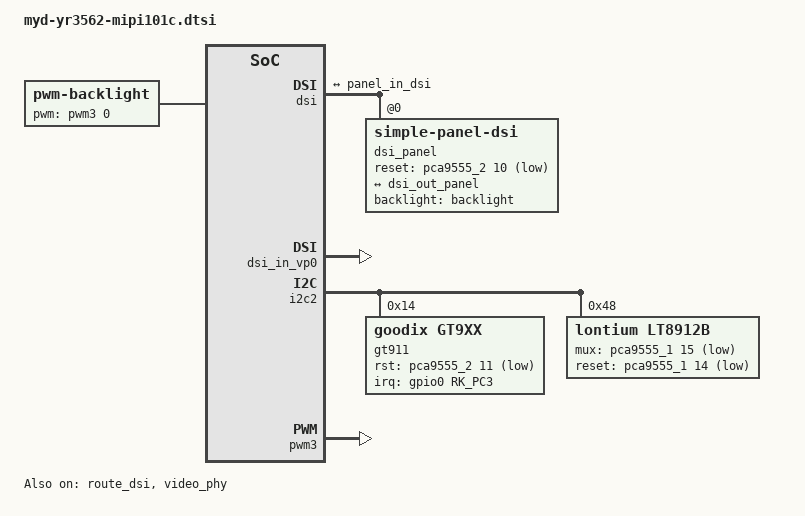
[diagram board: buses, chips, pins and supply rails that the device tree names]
// SPDX-License-Identifier: (GPL-2.0+ OR MIT)
/*
 * Copyright (c) 2024 MYIR Electronics Co., Ltd.
 * Updated for MX-A101FM40-IX30H Panel Adaptation
*/

/ {
	backlight: backlight {
		compatible = "pwm-backlight";
		pwms = <&pwm3 0 25000 0>;
		brightness-levels = <
			  0  20  20  21  21  22  22  23
			 23  24  24  25  25  26  26  27
			 27  28  28  29  29  30  30  31
			 31  32  32  33  33  34  34  35
			 35  36  36  37  37  38  38  39
			 40  41  42  43  44  45  46  47
			 48  49  50  51  52  53  54  55
			 56  57  58  59  60  61  62  63
			 64  65  66  67  68  69  70  71
			 72  73  74  75  76  77  78  79
			 80  81  82  83  84  85  86  87
			 88  89  90  91  92  93  94  95
			 96  97  98  99 100 101 102 103
			104 105 106 107 108 109 110 111
			112 113 114 115 116 117 118 119
			120 121 122 123 124 125 126 127
			128 129 130 131 132 133 134 135
			136 137 138 139 140 141 142 143
			144 145 146 147 148 149 150 151
			152 153 154 155 156 157 158 159
			160 161 162 163 164 165 166 167
			168 169 170 171 172 173 174 175
			176 177 178 179 180 181 182 183
			184 185 186 187 188 189 190 191
			192 193 194 195 196 197 198 199
			200 201 202 203 204 205 206 207
			208 209 210 211 212 213 214 215
			216 217 218 219 220 221 222 223
			224 225 226 227 228 229 230 231
			232 233 234 235 236 237 238 239
			240 241 242 243 244 245 246 247
			248 249 250 251 252 253 254 255
		>;
		default-brightness-level = <200>;
	};
};

&dsi {
	status = "okay";
	/* Degradation strategy for low-quality cables: Manually reduce the PHY rate to gain SI margin */
	//rockchip,lane-rate = <1000>;
	rockchip,lane-rate = <400>; 

	dsi_panel: panel@0 {
		status = "okay";
		compatible = "simple-panel-dsi";
		reg = <0>;
		backlight = <&backlight>;
		
		reset-delay-ms = <200>;
		enable-delay-ms = <200>;
		prepare-delay-ms = <200>;
		unprepare-delay-ms = <200>;
		disable-delay-ms = <200>;
		/* Physical dimensions (based on MX-A101FM40 datasheet) */
		width-mm = <135>;  
		height-mm = <216>; 

		reset-gpios = <&pca9555_2 10 GPIO_ACTIVE_LOW>;
		// power-supply = <&vcc_lcd_regulator>; 

		/* DSI protocol layer parameters */
		dsi,flags = <(MIPI_DSI_MODE_VIDEO | MIPI_DSI_MODE_VIDEO_BURST |
					  MIPI_DSI_MODE_LPM | MIPI_DSI_MODE_NO_EOT_PACKET)>;
		dsi,format = <MIPI_DSI_FMT_RGB888>;

		dsi,lanes = <4>;
		bpc = <8>;
		bus-format = <0x1017>; /* MEDIA_BUS_FMT_RGB888_1X24 */



		/* DCS wake-up and initialization sequence (Must be provided by vendor) */
		panel-init-sequence = [
			/* Placeholder: Replace with actual DCS codes for MX-A101FM40 */
			/* Example format: 39 00 04 B9 83 10 2E */
			/* Example format: 15 00 02 11 00 */
		];

		panel-exit-sequence = [
			05 00 01 28
			05 00 01 10
		];

		disp_timings0: display-timings {
			native-mode = <&dsi_timing0>;
			dsi_timing0: timing0 {		/* For the following Porch parameters, please refer strictly to the Timing table in the datasheet */
				clock-frequency = <71000000>; 
				hactive = <800>;
				vactive = <1280>;

				/*hfp + hsync + hbp = Total Horizontal Blanking = Htotal - Hactive = 900 - 800 = 100*/
				hfront-porch = <40>;
				hsync-len = <20>;
				hback-porch = <40>; 
				/*vfp + vsync + vbp = Total Vertical Blanking = Vtotal−Vactive = 1320− 1280= 40*/
				vfront-porch = <20>;
				vsync-len = <10>;
				vback-porch = <20>;

				hsync-active = <0>;
				vsync-active = <0>;
				de-active = <0>;
				pixelclk-active = <0>;
			};
		};

		ports {
				#address-cells = <1>;
				#size-cells = <0>;

				port@0 {
						reg = <0>;
						panel_in_dsi: endpoint {
								remote-endpoint = <&dsi_out_panel>;
						};
				};
		};
		
	};


	ports {
			#address-cells = <1>;
			#size-cells = <0>;

			port@1 {
					reg = <1>;
					dsi_out_panel: endpoint {
							remote-endpoint = <&panel_in_dsi>;
					};
			};
	};


};


&dsi_in_vp0 {
	status = "okay";
};

&i2c2 {
    gt911: gt911@14 {
		status = "okay";
		compatible = "goodix,gt9xx";
		reg = <0x14>;
		pinctrl-names = "default";
		pinctrl-0 = <&gt9xx_touch_gpio>;
		interrupt-parent = <&gpio0>;
		interrupts = <RK_PC3 IRQ_TYPE_EDGE_FALLING>;
		goodix,rst-gpio = <&pca9555_2 11 GPIO_ACTIVE_LOW>;
		goodix,irq-gpio = <&gpio0 RK_PC3 IRQ_TYPE_LEVEL_LOW>;
		flip-x = <0>;
		flip-y = <0>;

		touchscreen-size-x = <1200>;
		touchscreen-size-y = <1920>;

		goodix,cfg-group0 = [
			FA B0 04 80 07 05 35 00 01 08
			28 08 5A 3C 03 05 00 00 00 00
			11 11 00 18 1A 1E 14 8C 2E 0E
			71 73 B2 04 00 00 00 D9 02 1D
			00 01 00 00 00 00 00 00 00 00
			00 50 A0 94 D5 02 07 00 00 04
			95 55 00 89 62 00 80 71 00 78
			82 00 72 95 00 72 00 00 00 00
			00 00 00 00 00 00 00 00 00 00
			00 00 00 00 00 00 00 00 00 00
			00 00 00 00 00 00 00 00 00 00
			00 00 1C 1A 18 16 14 12 10 0E
			0C 0A 08 06 04 02 00 00 00 00
			00 00 00 00 00 00 00 00 00 00
			00 00 00 02 04 06 08 0A 0C 0F
			10 12 13 14 16 2A 29 28 26 24
			22 21 20 1F 1E 1D 1C 18 00 00
			00 00 00 00 00 00 00 00 00 00
			00 00 00 00 1A 01
		];
	};

	lt8912b: lt8912b@48 {
		compatible = "lontium,lt8912b";
		reg = <0x48>;
		mux-gpios = <&pca9555_1 15 GPIO_ACTIVE_LOW>;
		reset-gpios = <&pca9555_1 14 GPIO_ACTIVE_LOW>;
		status = "okay";
	};
};

&pinctrl {
	touch {
		gt9xx_touch_gpio: gt9xx-touch-gpio {
			rockchip,pins =
				<0 RK_PC3 RK_FUNC_GPIO &pcfg_pull_none>;
		};
	};
};

&pwm3 {
	status = "okay";
};

&route_dsi {
	status = "okay";
};

&video_phy {
	status = "okay";
};
